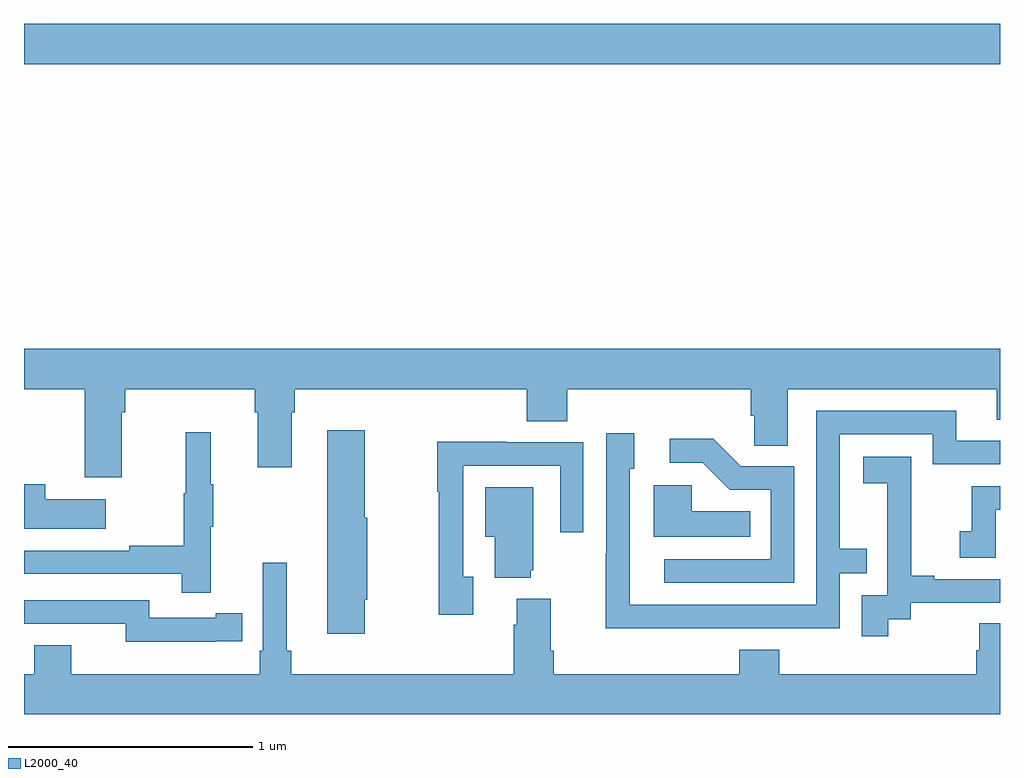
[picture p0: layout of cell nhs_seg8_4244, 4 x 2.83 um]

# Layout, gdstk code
import gdstk
lib = gdstk.Library(unit=1e-6, precision=1e-09)
def R(c, l, rs):  # rectangles x0, y0, x1, y1
    for r in rs: c.add(gdstk.rectangle(r[:2], r[2:], *l))
def P(c, l, *ps):  # polygons
    for p in ps: c.add(gdstk.Polygon(p, *l))
L2000_40 = (2000, 40)

nhs_seg8_4244 = lib.new_cell('nhs_seg8_4244')
R(nhs_seg8_4244, L2000_40, [(371,1111.172,375,1111.336)])
P(nhs_seg8_4244, L2000_40, [(371.401,1109.744),(371.414,1109.744),(371.414,1109.84),(371.945,1109.84),(371.945,1109.744),(371.957,1109.744),(371.957,1109.52),(372.097,1109.52),(372.097,1109.744),(372.11,1109.744),(372.11,1109.84),(373.061,1109.84),(373.061,1109.707),(373.226,1109.707),(373.226,1109.84),(373.979,1109.84),(373.979,1109.731),(373.992,1109.731),(373.992,1109.608),(374.131,1109.608),(374.131,1109.84),(374.987,1109.84),(374.987,1109.713),(375,1109.713),(375,1110.004),(371,1110.004),(371,1109.84),(371.249,1109.84),(371.249,1109.478),(371.401,1109.478)],
  [(373.847,1108.86),(374.343,1108.86),(374.343,1109.085),(374.453,1109.085),(374.453,1109.186),(374.343,1109.186),(374.343,1109.655),(374.724,1109.655),(374.724,1109.532),(375,1109.532),(375,1109.628),(374.821,1109.628),(374.821,1109.751),(374.247,1109.751),(374.247,1108.956),(373.483,1108.956),(373.483,1109.21),(373.482,1109.21),(373.482,1109.514),(373.501,1109.514),(373.501,1109.659),(373.386,1109.659),(373.386,1109.165),(373.384,1109.165),(373.384,1108.859),(373.847,1108.859)],
  [(372.396,1108.977),(372.406,1108.977),(372.406,1109.313),(372.396,1109.313),(372.396,1109.671),(372.242,1109.671),(372.242,1108.836),(372.396,1108.836)],
  [(371.765,1109.275),(371.776,1109.275),(371.776,1109.449),(371.765,1109.449),(371.765,1109.662),(371.662,1109.662),(371.662,1109.412),(371.655,1109.412),(371.655,1109.198),(371.431,1109.198),(371.431,1109.178),(371,1109.178),(371,1109.082),(371.647,1109.082),(371.647,1109.004),(371.765,1109.004)],
  [(374.157,1109.523),(373.938,1109.523),(373.825,1109.636),(373.647,1109.636),(373.647,1109.538),(373.781,1109.538),(373.892,1109.427),(374.061,1109.427),(374.061,1109.142),(373.623,1109.142),(373.623,1109.046),(374.157,1109.046)],
  [(372.841,1109.07),(372.801,1109.07),(372.801,1109.526),(373.197,1109.526),(373.197,1109.253),(373.293,1109.253),(373.293,1109.622),(372.977,1109.622),(372.977,1109.624),(372.693,1109.624),(372.693,1109.419),(372.7,1109.419),(372.7,1108.914),(372.841,1108.914)],
  [(374.542,1108.897),(374.634,1108.897),(374.634,1108.965),(375,1108.965),(375,1109.061),(374.731,1109.061),(374.731,1109.074),(374.636,1109.074),(374.636,1109.357),(374.637,1109.357),(374.637,1109.563),(374.439,1109.563),(374.439,1109.453),(374.537,1109.453),(374.537,1109.225),(374.538,1109.225),(374.538,1108.995),(374.433,1108.995),(374.433,1108.827),(374.542,1108.827)],
  [(371.335,1109.389),(371.087,1109.389),(371.087,1109.449),(371,1109.449),(371,1109.267),(371.335,1109.267)],
  [(373.976,1109.338),(373.737,1109.338),(373.737,1109.446),(373.58,1109.446),(373.58,1109.234),(373.976,1109.234)],
  [(374.982,1109.346),(375,1109.346),(375,1109.442),(374.884,1109.442),(374.884,1109.257),(374.835,1109.257),(374.835,1109.148),(374.982,1109.148)],
  [(373.076,1109.097),(373.087,1109.097),(373.087,1109.437),(372.89,1109.437),(372.89,1109.234),(372.929,1109.234),(372.929,1109.066),(373.076,1109.066)],
  [(375,1108.88),(374.915,1108.88),(374.915,1108.77),(374.903,1108.77),(374.903,1108.672),(374.096,1108.672),(374.096,1108.771),(373.931,1108.771),(373.931,1108.672),(373.172,1108.672),(373.172,1108.768),(373.159,1108.768),(373.159,1108.981),(373.019,1108.981),(373.019,1108.874),(373.007,1108.874),(373.007,1108.672),(372.095,1108.672),(372.095,1108.768),(372.076,1108.768),(372.076,1109.128),(371.979,1109.128),(371.979,1108.768),(371.966,1108.768),(371.966,1108.672),(371.194,1108.672),(371.194,1108.789),(371.042,1108.789),(371.042,1108.672),(371,1108.672),(371,1108.508),(375,1108.508)],
  [(371.786,1108.806),(371.894,1108.806),(371.894,1108.922),(371.786,1108.922),(371.786,1108.902),(371.514,1108.902),(371.514,1108.974),(371,1108.974),(371,1108.878),(371.418,1108.878),(371.418,1108.805),(371.786,1108.805)])

lib.write_gds('nhs_seg8_4244.gds')
